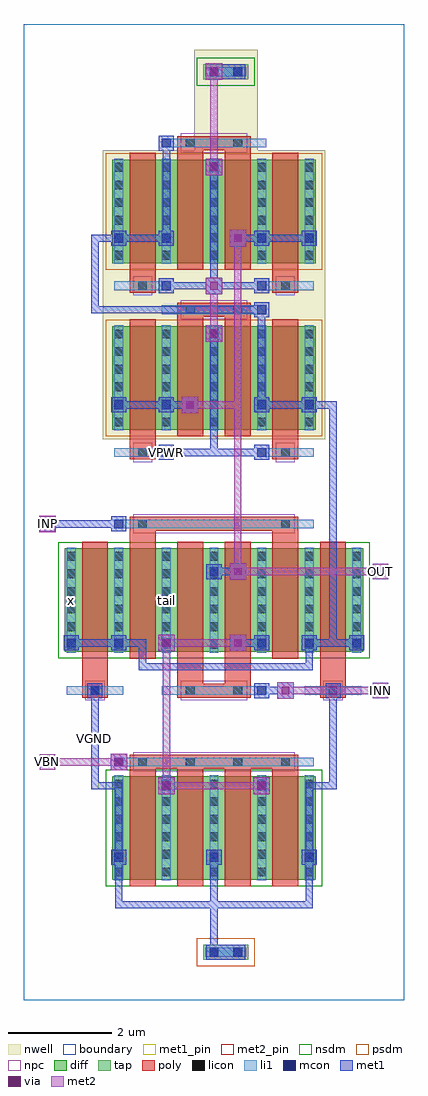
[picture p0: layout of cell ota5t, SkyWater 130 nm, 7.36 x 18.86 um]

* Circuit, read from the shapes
.subckt ota5t INN INP OUT VBN VGND VPWR tail x
XM1 x VGND x VGND sky130_fd_pr__nfet_01v8 w=2 l=0.5 m=2
XM2 tail VBN VGND VGND sky130_fd_pr__nfet_01v8 w=2 l=0.5 m=4
XM3 tail INP x VGND sky130_fd_pr__nfet_01v8 w=2 l=0.5 m=2
XM4 OUT INN tail VGND sky130_fd_pr__nfet_01v8 w=2 l=0.5 m=2
XM5 OUT VPWR OUT VPWR sky130_fd_pr__pfet_01v8 w=2 l=0.5 m=2
XM6 x VPWR x VPWR sky130_fd_pr__pfet_01v8 w=2 l=0.5 m=2
XM7 VPWR x OUT VPWR sky130_fd_pr__pfet_01v8 w=2 l=0.5 m=2
XM8 VPWR x x VPWR sky130_fd_pr__pfet_01v8 w=2 l=0.5 m=2
.ends

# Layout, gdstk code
import gdstk
lib = gdstk.Library(unit=1e-6, precision=1e-09)
def R(c, l, rs):  # rectangles x0, y0, x1, y1
    for r in rs: c.add(gdstk.rectangle(r[:2], r[2:], *l))
def A(c, l, x, y, w, h, nx, ny, dx, dy):  # array of equal rectangles
    R(c, l, [(x+i*dx, y+j*dy, x+i*dx+w, y+j*dy+h) for i in range(nx) for j in range(ny)])
nwell = (64, 20)
diff = (65, 20)
tap = (65, 44)
poly = (66, 20)
licon = (66, 44)
li1 = (67, 20)
mcon = (67, 44)
met1_pin = (68, 16)
met1 = (68, 20)
via = (68, 44)
met2_pin = (69, 16)
met2 = (69, 20)
nsdm = (93, 44)
psdm = (94, 20)
npc = (95, 20)
boundary = (235, 4)

ota5t = lib.new_cell('ota5t')
R(ota5t, nwell, [(1.535,10.84,5.825,16.42), (3.295,16.42,4.525,18.36)])
R(ota5t, diff, [(1.715,2.325,5.645,4.325), (0.795,6.725,6.565,8.725), (1.715,11.02,5.645,13.02), (1.715,14.24,5.645,16.24)])
R(ota5t, tap, [(3.475,0.775,4.345,1.065), (3.475,17.795,4.345,18.085)])
A(ota5t, poly, 2.05, 2.195, 0.5, 2.405, 4, 1, 0.92, 0)
R(ota5t, poly, [(2.05,4.465,5.31,4.735), (1.13,5.845,1.63,6.115), (2.97,5.845,4.39,6.115), (5.73,5.845,6.23,6.115), (1.13,5.98,1.63,8.855), (2.97,5.98,3.47,8.855), (3.89,5.98,4.39,8.855), (5.73,5.98,6.23,8.855), (2.05,6.595,2.55,9.2), (4.81,6.595,5.31,9.2), (2.05,9.065,5.31,9.335), (2.05,10.445,2.55,10.715), (4.81,10.445,5.31,10.715), (2.05,10.58,2.55,13.15), (4.81,10.58,5.31,13.15), (2.97,10.89,3.47,13.34), (3.89,10.89,4.39,13.34), (2.97,13.205,4.39,13.475), (2.05,13.665,2.55,13.935), (4.81,13.665,5.31,13.935), (2.05,13.8,2.55,16.37), (4.81,13.8,5.31,16.37), (2.97,14.11,3.47,16.56), (3.89,14.11,4.39,16.56), (2.97,16.425,4.39,16.695)])
A(ota5t, licon, 1.755, 2.39, 0.17, 0.17, 5, 6, 0.92, 0.34)
A(ota5t, licon, 2.215, 4.515, 0.17, 0.17, 4, 1, 0.92, 0)
A(ota5t, licon, 0.835, 6.79, 0.17, 0.17, 7, 6, 0.92, 0.34)
A(ota5t, licon, 1.755, 11.085, 0.17, 0.17, 5, 6, 0.92, 0.34)
A(ota5t, licon, 1.755, 14.305, 0.17, 0.17, 5, 6, 0.92, 0.34)
R(ota5t, licon, [(3.595,0.835,3.765,1.005), (4.055,0.835,4.225,1.005), (1.295,5.895,1.465,6.065), (3.135,5.895,3.305,6.065), (4.055,5.895,4.225,6.065), (5.895,5.895,6.065,6.065), (2.215,9.115,2.385,9.285), (4.975,9.115,5.145,9.285), (2.215,10.495,2.385,10.665), (4.975,10.495,5.145,10.665), (3.135,13.255,3.305,13.425), (4.055,13.255,4.225,13.425), (2.215,13.715,2.385,13.885), (4.975,13.715,5.145,13.885), (3.135,16.475,3.305,16.645), (4.055,16.475,4.225,16.645), (3.595,17.855,3.765,18.025), (4.055,17.855,4.225,18.025)])
A(ota5t, li1, 1.755, 2.31, 0.17, 2.03, 5, 2, 0.92, 8.695)
A(ota5t, li1, 0.835, 6.71, 0.17, 2.03, 7, 1, 0.92, 0)
A(ota5t, li1, 1.755, 14.225, 0.17, 2.03, 5, 1, 0.92, 0)
R(ota5t, li1, [(3.515,0.835,4.305,1.005), (1.755,4.515,5.605,4.685), (0.835,5.895,1.925,6.065), (2.675,5.895,4.685,6.065), (5.435,5.895,6.525,6.065), (1.755,9.115,5.605,9.285), (1.755,10.495,2.845,10.665), (4.515,10.495,5.605,10.665), (2.675,13.255,4.685,13.425), (1.755,13.715,2.845,13.885), (4.515,13.715,5.605,13.885), (2.675,16.475,4.685,16.645), (3.515,17.855,4.305,18.025)])
A(ota5t, mcon, 1.755, 2.675, 0.17, 0.17, 3, 1, 1.84, 0)
A(ota5t, mcon, 0.835, 6.815, 0.17, 0.17, 3, 1, 0.92, 0)
A(ota5t, mcon, 4.515, 6.815, 0.17, 0.17, 3, 1, 0.92, 0)
R(ota5t, mcon, [(3.595,0.835,3.765,1.005), (4.055,0.835,4.225,1.005), (2.675,4.055,2.845,4.225), (4.515,4.055,4.685,4.225), (1.755,4.515,1.925,4.685), (1.295,5.895,1.465,6.065), (4.515,5.895,4.685,6.065), (5.895,5.895,6.065,6.065), (3.595,8.195,3.765,8.365), (1.755,9.115,1.925,9.285), (2.675,10.495,2.845,10.665), (4.515,10.495,4.685,10.665), (1.755,11.415,1.925,11.585), (2.675,11.415,2.845,11.585), (4.515,11.415,4.685,11.585), (5.435,11.415,5.605,11.585), (3.595,12.795,3.765,12.965), (4.515,13.255,4.685,13.425), (2.675,13.715,2.845,13.885), (4.515,13.715,4.685,13.885), (1.755,14.635,1.925,14.805), (2.675,14.635,2.845,14.805), (4.515,14.635,4.685,14.805), (5.435,14.635,5.605,14.805), (3.595,16.015,3.765,16.185), (2.675,16.475,2.845,16.645), (3.595,17.855,3.765,18.025), (4.055,17.855,4.225,18.025)])
R(ota5t, met1_pin, [(1.31,4.07,1.45,6.05), (2.615,10.435,2.905,10.725)])
A(ota5t, met1, 1.695, 2.615, 0.29, 0.29, 3, 1, 1.84, 0)
A(ota5t, met1, 0.775, 6.755, 0.29, 0.29, 3, 1, 0.92, 0)
A(ota5t, met1, 4.455, 6.755, 0.29, 0.29, 3, 1, 0.92, 0)
R(ota5t, met1, [(3.535,0.775,4.285,1.065), (3.61,0.85,3.75,0.99), (3.61,0.85,3.75,2.83), (1.77,1.77,3.75,1.91), (1.77,1.77,1.91,2.83), (3.61,1.77,5.59,1.91), (5.45,1.77,5.59,2.83), (1.77,2.69,1.91,4.21), (5.45,2.69,5.59,4.21), (2.6,3.98,2.92,4.3), (4.44,3.98,4.76,4.3), (2.615,3.995,2.905,4.285), (4.455,3.995,4.745,4.285), (1.31,4.07,1.91,4.21), (1.31,4.07,1.45,6.05), (5.45,4.07,6.05,4.21), (5.91,4.07,6.05,6.05), (1.68,4.44,2,4.76), (1.695,4.455,1.985,4.745), (4.9,5.82,5.22,6.14), (1.235,5.835,1.525,6.125), (4.455,5.835,4.745,6.125), (5.835,5.835,6.125,6.125), (4.53,5.91,5.13,6.05), (2.23,6.37,2.37,6.97), (2.23,6.37,5.59,6.51), (5.45,6.37,5.59,6.97), (2.6,6.74,2.92,7.06), (3.98,6.74,4.3,7.06), (0.85,6.83,1.91,6.97), (1.77,6.83,2.37,6.97), (4.07,6.83,4.67,6.97), (5.45,6.83,6.51,6.97), (5.91,6.83,6.05,11.57), (3.98,8.12,4.3,8.44), (3.535,8.135,3.825,8.425), (3.61,8.21,4.21,8.35), (0.3,9.04,0.62,9.36), (1.695,9.055,1.985,9.345), (0.39,9.13,1.91,9.27), (2.615,10.435,2.905,10.725), (4.455,10.435,4.745,10.725), (2.69,10.51,3.75,10.65), (3.61,10.51,3.75,12.95), (3.61,10.51,4.67,10.65), (3.06,11.34,3.38,11.66), (1.695,11.355,1.985,11.645), (2.615,11.355,2.905,11.645), (4.455,11.355,4.745,11.645), (5.375,11.355,5.665,11.645), (1.77,11.43,2.83,11.57), (2.69,11.43,3.29,11.57), (4.53,11.43,4.67,13.41), (4.53,11.43,5.59,11.57), (5.45,11.43,6.05,11.57), (3.52,12.72,3.84,13.04), (3.535,12.735,3.825,13.025), (4.455,13.195,4.745,13.485), (1.31,13.27,1.45,14.79), (1.31,13.27,4.67,13.41), (3.52,13.64,3.84,13.96), (2.615,13.655,2.905,13.945), (4.455,13.655,4.745,13.945), (2.69,13.73,3.75,13.87), (3.61,13.73,3.75,16.17), (3.61,13.73,4.67,13.87), (3.98,14.56,4.3,14.88), (1.695,14.575,1.985,14.865), (2.615,14.575,2.905,14.865), (4.455,14.575,4.745,14.865), (5.375,14.575,5.665,14.865), (1.31,14.65,1.91,14.79), (1.77,14.65,2.83,14.79), (2.69,14.65,2.83,16.63), (4.07,14.65,4.67,14.79), (4.53,14.65,5.59,14.79), (3.52,15.94,3.84,16.26), (3.535,15.955,3.825,16.245), (2.615,16.415,2.905,16.705), (3.52,17.78,3.84,18.1), (3.535,17.795,4.285,18.085), (3.61,17.87,3.75,18.01)])
R(ota5t, via, [(2.685,4.065,2.835,4.215), (4.525,4.065,4.675,4.215), (1.765,4.525,1.915,4.675), (4.985,5.905,5.135,6.055), (2.685,6.825,2.835,6.975), (4.065,6.825,4.215,6.975), (4.065,8.205,4.215,8.355), (0.385,9.125,0.535,9.275), (3.145,11.425,3.295,11.575), (3.605,12.805,3.755,12.955), (3.605,13.725,3.755,13.875), (4.065,14.645,4.215,14.795), (3.605,16.025,3.755,16.175), (3.605,17.865,3.755,18.015)])
R(ota5t, met2_pin, [(0.31,4.45,0.61,4.75), (6.75,5.83,7.05,6.13), (6.75,8.13,7.05,8.43), (0.31,9.05,0.61,9.35)])
R(ota5t, met2, [(2.6,3.98,2.92,4.3), (4.44,3.98,4.76,4.3), (2.69,4.07,2.83,6.97), (2.69,4.07,4.67,4.21), (1.68,4.44,2,4.76), (0.31,4.45,0.61,4.75), (0.39,4.53,1.91,4.67), (0.39,4.53,0.53,4.67), (4.9,5.82,5.22,6.14), (6.75,5.83,7.05,6.13), (4.99,5.91,6.97,6.05), (6.83,5.91,6.97,6.05), (2.6,6.74,2.92,7.06), (3.98,6.74,4.3,7.06), (2.69,6.83,4.21,6.97), (3.98,8.12,4.3,8.44), (6.75,8.13,7.05,8.43), (4.07,8.21,6.97,8.35), (4.07,8.21,4.21,11.57), (6.83,8.21,6.97,8.35), (0.3,9.04,0.62,9.36), (0.31,9.05,0.61,9.35), (0.39,9.13,0.53,9.27), (3.06,11.34,3.38,11.66), (3.15,11.43,4.21,11.57), (4.07,11.43,4.21,14.79), (3.52,12.72,3.84,13.04), (3.61,12.81,3.75,13.87), (3.52,13.64,3.84,13.96), (3.98,14.56,4.3,14.88), (3.52,15.94,3.84,16.26), (3.61,16.03,3.75,18.01), (3.52,17.78,3.84,18.1)])
R(ota5t, nsdm, [(1.59,2.2,5.77,4.45), (0.67,6.6,6.69,8.85), (3.35,17.67,4.47,18.21)])
R(ota5t, psdm, [(3.35,0.65,4.47,1.19), (1.59,10.895,5.77,13.145), (1.59,14.115,5.77,16.365)])
R(ota5t, npc, [(2.115,4.415,5.245,4.785), (1.195,5.795,1.565,6.165), (3.035,5.795,4.325,6.165), (5.795,5.795,6.165,6.165), (2.115,9.015,5.245,9.385), (2.115,10.395,2.485,10.765), (4.875,10.395,5.245,10.765), (3.035,13.155,4.325,13.525), (2.115,13.615,2.485,13.985), (4.875,13.615,5.245,13.985), (3.035,16.375,4.325,16.745)])
R(ota5t, boundary, [(0,0,7.36,18.86)])
ota5t.add(gdstk.Label('x', (0.92,7.725), layer=67, texttype=5))
ota5t.add(gdstk.Label('tail', (2.76,7.725), layer=67, texttype=5))
ota5t.add(gdstk.Label('VPWR', (2.76,10.58), layer=68, texttype=5))
ota5t.add(gdstk.Label('VGND', (1.38,5.06), layer=68, texttype=5))
ota5t.add(gdstk.Label('INP', (0.46,9.2), layer=69, texttype=5))
ota5t.add(gdstk.Label('INN', (6.9,5.98), layer=69, texttype=5))
ota5t.add(gdstk.Label('VBN', (0.46,4.6), layer=69, texttype=5))
ota5t.add(gdstk.Label('OUT', (6.9,8.28), layer=69, texttype=5))
ota5t.add(gdstk.Label('VPWR', (2.76,10.58), layer=68, texttype=16))
ota5t.add(gdstk.Label('VGND', (1.38,5.06), layer=68, texttype=16))
ota5t.add(gdstk.Label('INP', (0.46,9.2), layer=69, texttype=16))
ota5t.add(gdstk.Label('INN', (6.9,5.98), layer=69, texttype=16))
ota5t.add(gdstk.Label('VBN', (0.46,4.6), layer=69, texttype=16))
ota5t.add(gdstk.Label('OUT', (6.9,8.28), layer=69, texttype=16))

lib.write_gds('ota5t.gds')
